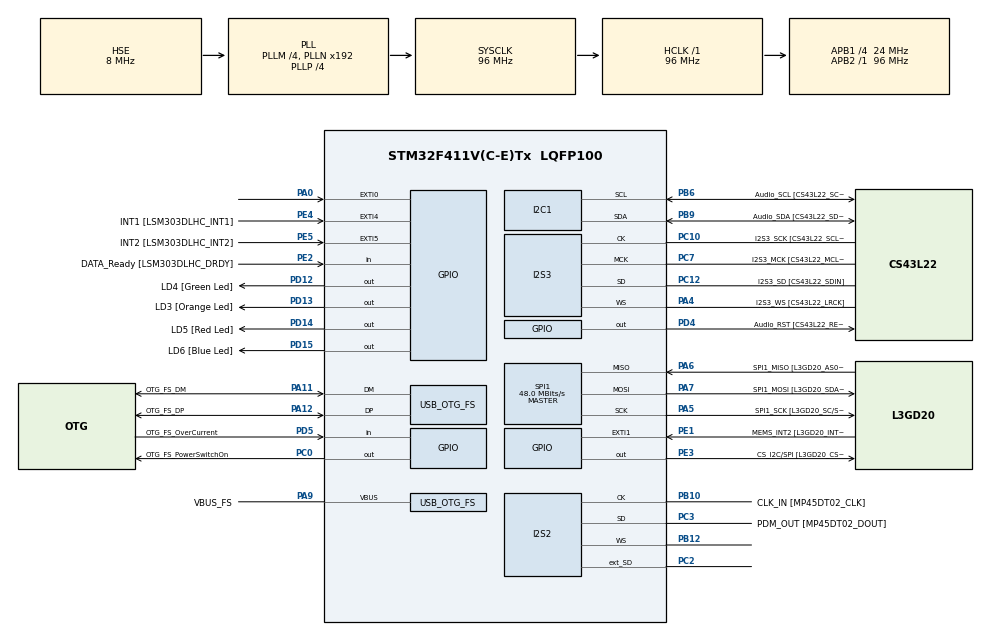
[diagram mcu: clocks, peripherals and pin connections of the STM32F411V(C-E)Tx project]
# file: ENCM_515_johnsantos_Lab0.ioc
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I2S2.AudioFreq=I2S_AUDIOFREQ_96K
I2S2.ErrorAudioFreq=0.15 %
I2S2.FullDuplexMode=I2S_FULLDUPLEXMODE_ENABLE
I2S2.Instance=SPI$Index
I2S2.RealAudioFreq=96.153 KHz
I2S2.VirtualMode=I2S_MODE_MASTER
I2S3.AudioFreq=I2S_AUDIOFREQ_96K
I2S3.ErrorAudioFreq=-6.99 %
I2S3.FullDuplexMode=I2S_FULLDUPLEXMODE_DISABLE
I2S3.Instance=SPI$Index
I2S3.RealAudioFreq=89.285 KHz
I2S3.VirtualMode=I2S_MODE_MASTER
Mcu.Family=STM32F4
Mcu.Name=STM32F411V(C-E)Tx
Mcu.Package=LQFP100
NVIC.OTG_FS_IRQn=true\:0\:0\:false\:false\:true\:true\:true\:true
NVIC.PriorityGroup=NVIC_PRIORITYGROUP_0
PA0-WKUP.GPIO_ModeDefaultEXTI=GPIO_MODE_EVT_RISING
PA0-WKUP.Signal=GPXTI0
PA10.GPIO_Label=OTG_FS_ID
PA10.Signal=USB_OTG_FS_ID
PA11.GPIO_Label=OTG_FS_DM
PA11.Mode=Host_Only
PA11.Signal=USB_OTG_FS_DM
PA12.GPIO_Label=OTG_FS_DP
PA12.Mode=Host_Only
PA12.Signal=USB_OTG_FS_DP
PA13.GPIO_Label=SWDIO
PA13.Mode=Serial_Wire
PA13.Signal=SYS_JTMS-SWDIO
PA14.GPIO_Label=SWCLK
PA14.Mode=Serial_Wire
PA14.Signal=SYS_JTCK-SWCLK
PA4.GPIO_Label=I2S3_WS [CS43L22_LRCK]
PA4.GPIO_Mode=GPIO_MODE_AF_PP
PA4.GPIO_PuPd=GPIO_NOPULL
PA4.GPIO_Speed=GPIO_SPEED_FREQ_LOW
PA4.Mode=Half_Duplex_Master
PA4.Signal=I2S3_WS
PA5.GPIO_Label=SPI1_SCK [L3GD20_SC/SPC]
PA5.Mode=Full_Duplex_Master
PA5.Signal=SPI1_SCK
PA6.GPIO_Label=SPI1_MISO [L3GD20_AS0/SDO]
PA6.Mode=Full_Duplex_Master
PA6.Signal=SPI1_MISO
PA7.GPIO_Label=SPI1_MOSI [L3GD20_SDA/SDI/SDO]
PA7.Mode=Full_Duplex_Master
PA7.Signal=SPI1_MOSI
PA9.GPIO_Label=VBUS_FS
PA9.Mode=Activate_VBUS
PA9.Signal=USB_OTG_FS_VBUS
PB10.GPIO_Label=CLK_IN [MP45DT02_CLK]
PB10.Mode=Full_Duplex_Master
PB10.Signal=I2S2_CK
PB12.Mode=Full_Duplex_Master
PB12.Signal=I2S2_WS
PB3.GPIO_Label=SWO
PB3.Signal=SYS_JTDO-SWO
PB6.GPIO_Label=Audio_SCL [CS43L22_SCL]
PB6.GPIO_Mode=GPIO_MODE_AF_OD
PB6.GPIO_Pu=GPIO_PULLUP
PB6.GPIO_PuPd=GPIO_NOPULL
PB6.GPIO_Speed=GPIO_SPEED_FREQ_LOW
PB6.Mode=I2C
PB6.Signal=I2C1_SCL
PB9.GPIO_Label=Audio_SDA [CS43L22_SDA]
PB9.GPIO_Mode=GPIO_MODE_AF_OD
PB9.GPIO_Pu=GPIO_PULLUP
PB9.GPIO_PuPd=GPIO_NOPULL
PB9.GPIO_Speed=GPIO_SPEED_FREQ_LOW
PB9.Mode=I2C
PB9.Signal=I2C1_SDA
PC0.GPIO_Label=OTG_FS_PowerSwitchOn
PC0.PinState=GPIO_PIN_SET
PC0.Signal=GPIO_Output
PC10.GPIO_Label=I2S3_SCK [CS43L22_SCLK]
PC10.GPIO_Mode=GPIO_MODE_AF_PP
PC10.GPIO_PuPd=GPIO_NOPULL
PC10.GPIO_Speed=GPIO_SPEED_FREQ_LOW
PC10.Mode=Half_Duplex_Master
PC10.Signal=I2S3_CK
PC12.GPIO_Label=I2S3_SD [CS43L22_SDIN]
PC12.GPIO_Mode=GPIO_MODE_AF_PP
PC12.GPIO_PuPd=GPIO_NOPULL
PC12.GPIO_Speed=GPIO_SPEED_FREQ_LOW
PC12.Mode=Half_Duplex_Master
PC12.Signal=I2S3_SD
PC14-OSC32_IN.GPIO_Label=PC14-OSC32_IN
PC14-OSC32_IN.Mode=LSE-External-Oscillator
PC14-OSC32_IN.Signal=RCC_OSC32_IN
PC15-OSC32_OUT.GPIO_Label=PC15-OSC32_OUT
PC15-OSC32_OUT.Mode=LSE-External-Oscillator
PC15-OSC32_OUT.Signal=RCC_OSC32_OUT
PC2.Mode=Full_Duplex_Master
PC2.Signal=I2S2_ext_SD
PC3.GPIO_Label=PDM_OUT [MP45DT02_DOUT]
PC3.Mode=Full_Duplex_Master
PC3.Signal=I2S2_SD
PC7.GPIO_Label=I2S3_MCK [CS43L22_MCLK]
PC7.GPIO_Mode=GPIO_MODE_AF_PP
PC7.GPIO_PuPd=GPIO_NOPULL
PC7.GPIO_Speed=GPIO_SPEED_FREQ_LOW
PC7.Mode=Master_Clock_Activated
PC7.Signal=I2S3_MCK
PD12.GPIO_Label=LD4 [Green Led]
PD12.GPIO_PuPd=GPIO_NOPULL
PD12.GPIO_Speed=GPIO_SPEED_FREQ_LOW
PD12.Signal=GPIO_Output
PD13.GPIO_Label=LD3 [Orange Led]
PD13.GPIO_PuPd=GPIO_NOPULL
PD13.GPIO_Speed=GPIO_SPEED_FREQ_LOW
PD13.Signal=GPIO_Output
PD14.GPIO_Label=LD5 [Red Led]
PD14.GPIO_PuPd=GPIO_NOPULL
PD14.GPIO_Speed=GPIO_SPEED_FREQ_LOW
PD14.Signal=GPIO_Output
PD15.GPIO_Label=LD6 [Blue Led]
PD15.GPIO_PuPd=GPIO_NOPULL
PD15.GPIO_Speed=GPIO_SPEED_FREQ_LOW
PD15.Signal=GPIO_Output
PD4.GPIO_Label=Audio_RST [CS43L22_RESET]
PD4.Signal=GPIO_Output
PD5.GPIO_Label=OTG_FS_OverCurrent
PD5.Signal=GPIO_Input
PE1.GPIO_Label=MEMS_INT2 [L3GD20_INT2]
PE1.GPIO_ModeDefaultEXTI=GPIO_MODE_EVT_RISING
PE1.Signal=GPXTI1
PE2.GPIO_Label=DATA_Ready [LSM303DLHC_DRDY]
PE2.Signal=GPIO_Input
PE3.GPIO_Label=CS_I2C/SPI [L3GD20_CS_I2C/SPI]
PE3.Signal=GPIO_Output
PE4.GPIO_Label=INT1 [LSM303DLHC_INT1]
PE4.GPIO_ModeDefaultEXTI=GPIO_MODE_EVT_RISING
PE4.Signal=GPXTI4
PE5.GPIO_Label=INT2 [LSM303DLHC_INT2]
PE5.GPIO_ModeDefaultEXTI=GPIO_MODE_EVT_RISING
PE5.Signal=GPXTI5
PH0\ -\ OSC_IN.GPIO_Label=PH0-OSC_IN
PH0\ -\ OSC_IN.Mode=HSE-External-Oscillator
PH0\ -\ OSC_IN.Signal=RCC_OSC_IN
PH1\ -\ OSC_OUT.GPIO_Label=PH1-OSC_OUT
PH1\ -\ OSC_OUT.Mode=HSE-External-Oscillator
PH1\ -\ OSC_OUT.Signal=RCC_OSC_OUT
ProjectManager.HeapSize=0x200
ProjectManager.StackSize=0x400
ProjectManager.TargetToolchain=STM32CubeIDE
RCC.48MHZClocksFreq_Value=48000000
RCC.AHBFreq_Value=96000000
RCC.APB1CLKDivider=RCC_HCLK_DIV4
RCC.APB1Freq_Value=24000000
RCC.APB1TimFreq_Value=48000000
RCC.APB2Freq_Value=96000000
RCC.APB2TimFreq_Value=96000000
RCC.CortexFreq_Value=96000000
RCC.HCLKFreq_Value=96000000
RCC.HSE_VALUE=8000000
RCC.HSI_VALUE=16000000
RCC.PLLI2SM=5
RCC.PLLI2SN=200
RCC.PLLM=4
RCC.PLLP=RCC_PLLP_DIV4
RCC.PLLQ=8
RCC.SYSCLKFreq_VALUE=96000000
RCC.SYSCLKSource=RCC_SYSCLKSOURCE_PLLCLK
RCC.VCOOutputFreq_Value=384000000
SPI1.BaudRatePrescaler=SPI_BAUDRATEPRESCALER_2
SPI1.CalculateBaudRate=48.0 MBits/s
SPI1.Direction=SPI_DIRECTION_2LINES
SPI1.Mode=SPI_MODE_MASTER
SPI1.VirtualType=VM_MASTER
USB_HOST.BSP.number=1
USB_HOST.USBH_HandleTypeDef=hUsbHostFS
USB_HOST.VirtualModeFS=Cdc
USB_HOST0.BSP.STBoard=false
USB_HOST0.BSP.api=Unknown
USB_HOST0.BSP.instance=PC0
USB_HOST0.BSP.ip=GPIO
USB_HOST0.BSP.mode=Output
USB_HOST0.BSP.name=Drive_VBUS_FS
USB_HOST0.BSP.solution=PC0
USB_OTG_FS.VirtualMode=Host_Only
USB_OTG_FS.phy_itface=HCD_PHY_EMBEDDED
VP_USB_HOST_VS_USB_HOST_CDC_FS.Mode=CDC_FS
board=STM32F411E-DISCO

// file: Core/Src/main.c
/* USER CODE BEGIN Header */
/**
  ******************************************************************************
  * @file           : main.c
  * @brief          : Main program body
  ******************************************************************************
  * @attention
  *
  * Copyright (c) 2024 STMicroelectronics.
  * All rights reserved.
  *
  * This software is licensed under terms that can be found in the LICENSE file
  * in the root directory of this software component.
  * If no LICENSE file comes with this software, it is provided AS-IS.
  *
  ******************************************************************************
  */
/* USER CODE END Header */
#include "main.h"
#include "usb_host.h"

/* USER CODE BEGIN PD */
 #define ITM_Port32(n) (*((volatile unsigned long *)(0xE0000000+4*n)))
/* USER CODE END PD */

I2C_HandleTypeDef hi2c1;

I2S_HandleTypeDef hi2s2;
I2S_HandleTypeDef hi2s3;

SPI_HandleTypeDef hspi1;

void SystemClock_Config(void);
void PeriphCommonClock_Config(void);
static void MX_GPIO_Init(void);
static void MX_I2C1_Init(void);
static void MX_I2S2_Init(void);
static void MX_I2S3_Init(void);
static void MX_SPI1_Init(void);
void MX_USB_HOST_Process(void);

/* USER CODE BEGIN 0 */

uint8_t Loop = 0;

/* USER CODE END 0 */

int main(void)
{

  /* MCU Configuration--------------------------------------------------------*/

  /* Reset of all peripherals, Initializes the Flash interface and the Systick. */
  HAL_Init();

  /* Configure the system clock */
  SystemClock_Config();

/* Configure the peripherals common clocks */
  PeriphCommonClock_Config();

  /* Initialize all configured peripherals */
  MX_GPIO_Init();
  MX_I2C1_Init();
  MX_I2S2_Init();
  MX_I2S3_Init();
  MX_SPI1_Init();
  MX_USB_HOST_Init();

  /* Infinite loop */
  /* USER CODE BEGIN WHILE */
  while (1)
  {
	if (Loop >= 100) {
		Loop = 0;
	}

	HAL_GPIO_TogglePin(LD3_GPIO_Port, LD3_Pin); // Toggle LED
	HAL_Delay(1000); // Delay 1 second.

	// printf("\n The LED was toggled! \n\r"); // Debug print example.

	Loop += 1;

	int result = test_assembly(4, 9);
	printf("\n The result of test_assembly is: %d \n\r", result);

    /* USER CODE END WHILE */
    MX_USB_HOST_Process();

  }
}

void SystemClock_Config(void)
{
  RCC_OscInitTypeDef RCC_OscInitStruct = {0};
  RCC_ClkInitTypeDef RCC_ClkInitStruct = {0};

  /** Configure the main internal regulator output voltage
  */
  __HAL_RCC_PWR_CLK_ENABLE();
  __HAL_PWR_VOLTAGESCALING_CONFIG(PWR_REGULATOR_VOLTAGE_SCALE1);

  /** Initializes the RCC Oscillators according to the specified parameters
  * in the RCC_OscInitTypeDef structure.
  */
  RCC_OscInitStruct.OscillatorType = RCC_OSCILLATORTYPE_HSE;
  RCC_OscInitStruct.HSEState = RCC_HSE_ON;
  RCC_OscInitStruct.PLL.PLLState = RCC_PLL_ON;
  RCC_OscInitStruct.PLL.PLLSource = RCC_PLLSOURCE_HSE;
  RCC_OscInitStruct.PLL.PLLM = 4;
  RCC_OscInitStruct.PLL.PLLN = 192;
  RCC_OscInitStruct.PLL.PLLP = RCC_PLLP_DIV4;
  RCC_OscInitStruct.PLL.PLLQ = 8;
  if (HAL_RCC_OscConfig(&RCC_OscInitStruct) != HAL_OK)
  {
    Error_Handler();
  }

  /** Initializes the CPU, AHB and APB buses clocks
  */
  RCC_ClkInitStruct.ClockType = RCC_CLOCKTYPE_HCLK|RCC_CLOCKTYPE_SYSCLK
                              |RCC_CLOCKTYPE_PCLK1|RCC_CLOCKTYPE_PCLK2;
  RCC_ClkInitStruct.SYSCLKSource = RCC_SYSCLKSOURCE_PLLCLK;
  RCC_ClkInitStruct.AHBCLKDivider = RCC_SYSCLK_DIV1;
  RCC_ClkInitStruct.APB1CLKDivider = RCC_HCLK_DIV4;
  RCC_ClkInitStruct.APB2CLKDivider = RCC_HCLK_DIV1;

  if (HAL_RCC_ClockConfig(&RCC_ClkInitStruct, FLASH_LATENCY_3) != HAL_OK)
  {
    Error_Handler();
  }
}

void PeriphCommonClock_Config(void)
{
  RCC_PeriphCLKInitTypeDef PeriphClkInitStruct = {0};

  /** Initializes the peripherals clock
  */
  PeriphClkInitStruct.PeriphClockSelection = RCC_PERIPHCLK_I2S;
  PeriphClkInitStruct.PLLI2S.PLLI2SN = 200;
  PeriphClkInitStruct.PLLI2S.PLLI2SM = 5;
  PeriphClkInitStruct.PLLI2S.PLLI2SR = 2;
  if (HAL_RCCEx_PeriphCLKConfig(&PeriphClkInitStruct) != HAL_OK)
  {
    Error_Handler();
  }
}

static void MX_I2C1_Init(void)
{

  hi2c1.Instance = I2C1;
  hi2c1.Init.ClockSpeed = 100000;
  hi2c1.Init.DutyCycle = I2C_DUTYCYCLE_2;
  hi2c1.Init.OwnAddress1 = 0;
  hi2c1.Init.AddressingMode = I2C_ADDRESSINGMODE_7BIT;
  hi2c1.Init.DualAddressMode = I2C_DUALADDRESS_DISABLE;
  hi2c1.Init.OwnAddress2 = 0;
  hi2c1.Init.GeneralCallMode = I2C_GENERALCALL_DISABLE;
  hi2c1.Init.NoStretchMode = I2C_NOSTRETCH_DISABLE;
  if (HAL_I2C_Init(&hi2c1) != HAL_OK)
  {
    Error_Handler();
  }

}

static void MX_I2S2_Init(void)
{

  hi2s2.Instance = SPI2;
  hi2s2.Init.Mode = I2S_MODE_MASTER_TX;
  hi2s2.Init.Standard = I2S_STANDARD_PHILIPS;
  hi2s2.Init.DataFormat = I2S_DATAFORMAT_16B;
  hi2s2.Init.MCLKOutput = I2S_MCLKOUTPUT_DISABLE;
  hi2s2.Init.AudioFreq = I2S_AUDIOFREQ_96K;
  hi2s2.Init.CPOL = I2S_CPOL_LOW;
  hi2s2.Init.ClockSource = I2S_CLOCK_PLL;
  hi2s2.Init.FullDuplexMode = I2S_FULLDUPLEXMODE_ENABLE;
  if (HAL_I2S_Init(&hi2s2) != HAL_OK)
  {
    Error_Handler();
  }

}

static void MX_I2S3_Init(void)
{

  hi2s3.Instance = SPI3;
  hi2s3.Init.Mode = I2S_MODE_MASTER_TX;
  hi2s3.Init.Standard = I2S_STANDARD_PHILIPS;
  hi2s3.Init.DataFormat = I2S_DATAFORMAT_16B;
  hi2s3.Init.MCLKOutput = I2S_MCLKOUTPUT_ENABLE;
  hi2s3.Init.AudioFreq = I2S_AUDIOFREQ_96K;
  hi2s3.Init.CPOL = I2S_CPOL_LOW;
  hi2s3.Init.ClockSource = I2S_CLOCK_PLL;
  hi2s3.Init.FullDuplexMode = I2S_FULLDUPLEXMODE_DISABLE;
  if (HAL_I2S_Init(&hi2s3) != HAL_OK)
  {
    Error_Handler();
  }

}

static void MX_SPI1_Init(void)
{

  /* SPI1 parameter configuration*/
  hspi1.Instance = SPI1;
  hspi1.Init.Mode = SPI_MODE_MASTER;
  hspi1.Init.Direction = SPI_DIRECTION_2LINES;
  hspi1.Init.DataSize = SPI_DATASIZE_8BIT;
  hspi1.Init.CLKPolarity = SPI_POLARITY_LOW;
  hspi1.Init.CLKPhase = SPI_PHASE_1EDGE;
  hspi1.Init.NSS = SPI_NSS_SOFT;
  hspi1.Init.BaudRatePrescaler = SPI_BAUDRATEPRESCALER_2;
  hspi1.Init.FirstBit = SPI_FIRSTBIT_MSB;
  hspi1.Init.TIMode = SPI_TIMODE_DISABLE;
  hspi1.Init.CRCCalculation = SPI_CRCCALCULATION_DISABLE;
  hspi1.Init.CRCPolynomial = 10;
  if (HAL_SPI_Init(&hspi1) != HAL_OK)
  {
    Error_Handler();
  }

}

static void MX_GPIO_Init(void)
{
  GPIO_InitTypeDef GPIO_InitStruct = {0};

  /* GPIO Ports Clock Enable */
  __HAL_RCC_GPIOE_CLK_ENABLE();
  __HAL_RCC_GPIOC_CLK_ENABLE();
  __HAL_RCC_GPIOH_CLK_ENABLE();
  __HAL_RCC_GPIOA_CLK_ENABLE();
  __HAL_RCC_GPIOB_CLK_ENABLE();
  __HAL_RCC_GPIOD_CLK_ENABLE();

  /*Configure GPIO pin Output Level */
  HAL_GPIO_WritePin(CS_I2C_SPI_GPIO_Port, CS_I2C_SPI_Pin, GPIO_PIN_RESET);

  /*Configure GPIO pin Output Level */
  HAL_GPIO_WritePin(OTG_FS_PowerSwitchOn_GPIO_Port, OTG_FS_PowerSwitchOn_Pin, GPIO_PIN_SET);

  /*Configure GPIO pin Output Level */
  HAL_GPIO_WritePin(GPIOD, LD4_Pin|LD3_Pin|LD5_Pin|LD6_Pin
                          |Audio_RST_Pin, GPIO_PIN_RESET);

  /*Configure GPIO pin : DATA_Ready_Pin */
  GPIO_InitStruct.Pin = DATA_Ready_Pin;
  GPIO_InitStruct.Mode = GPIO_MODE_INPUT;
  GPIO_InitStruct.Pull = GPIO_NOPULL;
  HAL_GPIO_Init(DATA_Ready_GPIO_Port, &GPIO_InitStruct);

  /*Configure GPIO pin : CS_I2C_SPI_Pin */
  GPIO_InitStruct.Pin = CS_I2C_SPI_Pin;
  GPIO_InitStruct.Mode = GPIO_MODE_OUTPUT_PP;
  GPIO_InitStruct.Pull = GPIO_NOPULL;
  GPIO_InitStruct.Speed = GPIO_SPEED_FREQ_LOW;
  HAL_GPIO_Init(CS_I2C_SPI_GPIO_Port, &GPIO_InitStruct);

  /*Configure GPIO pins : INT1_Pin INT2_Pin MEMS_INT2_Pin */
  GPIO_InitStruct.Pin = INT1_Pin|INT2_Pin|MEMS_INT2_Pin;
  GPIO_InitStruct.Mode = GPIO_MODE_EVT_RISING;
  GPIO_InitStruct.Pull = GPIO_NOPULL;
  HAL_GPIO_Init(GPIOE, &GPIO_InitStruct);

  /*Configure GPIO pin : OTG_FS_PowerSwitchOn_Pin */
  GPIO_InitStruct.Pin = OTG_FS_PowerSwitchOn_Pin;
  GPIO_InitStruct.Mode = GPIO_MODE_OUTPUT_PP;
  GPIO_InitStruct.Pull = GPIO_NOPULL;
  GPIO_InitStruct.Speed = GPIO_SPEED_FREQ_LOW;
  HAL_GPIO_Init(OTG_FS_PowerSwitchOn_GPIO_Port, &GPIO_InitStruct);

  /*Configure GPIO pin : PA0 */
  GPIO_InitStruct.Pin = GPIO_PIN_0;
  GPIO_InitStruct.Mode = GPIO_MODE_EVT_RISING;
  GPIO_InitStruct.Pull = GPIO_NOPULL;
  HAL_GPIO_Init(GPIOA, &GPIO_InitStruct);

  /*Configure GPIO pins : LD4_Pin LD3_Pin LD5_Pin LD6_Pin
                           Audio_RST_Pin */
  GPIO_InitStruct.Pin = LD4_Pin|LD3_Pin|LD5_Pin|LD6_Pin
                          |Audio_RST_Pin;
  GPIO_InitStruct.Mode = GPIO_MODE_OUTPUT_PP;
  GPIO_InitStruct.Pull = GPIO_NOPULL;
  GPIO_InitStruct.Speed = GPIO_SPEED_FREQ_LOW;
  HAL_GPIO_Init(GPIOD, &GPIO_InitStruct);

  /*Configure GPIO pin : OTG_FS_OverCurrent_Pin */
  GPIO_InitStruct.Pin = OTG_FS_OverCurrent_Pin;
  GPIO_InitStruct.Mode = GPIO_MODE_INPUT;
  GPIO_InitStruct.Pull = GPIO_NOPULL;
  HAL_GPIO_Init(OTG_FS_OverCurrent_GPIO_Port, &GPIO_InitStruct);

}

/* USER CODE BEGIN 4 */
int _write(int file, char* ptr, int len) {
	int DataIdx;
	for (DataIdx = 0; DataIdx < len; DataIdx++) {
		ITM_SendChar(*ptr++);
	}
	return len;
}

int test_assembly(int a, int b) {
	int res = 0;
	__asm volatile ("ADD %[result], %[input_i], %[input_b]"
	: [result] "=r" (res)
	: [input_i] "r" (a), [input_b] "r" (b)
	);
	return res;
}
/* USER CODE END 4 */

void Error_Handler(void)
{
  __disable_irq();
  while (1)
  {
  }
}
